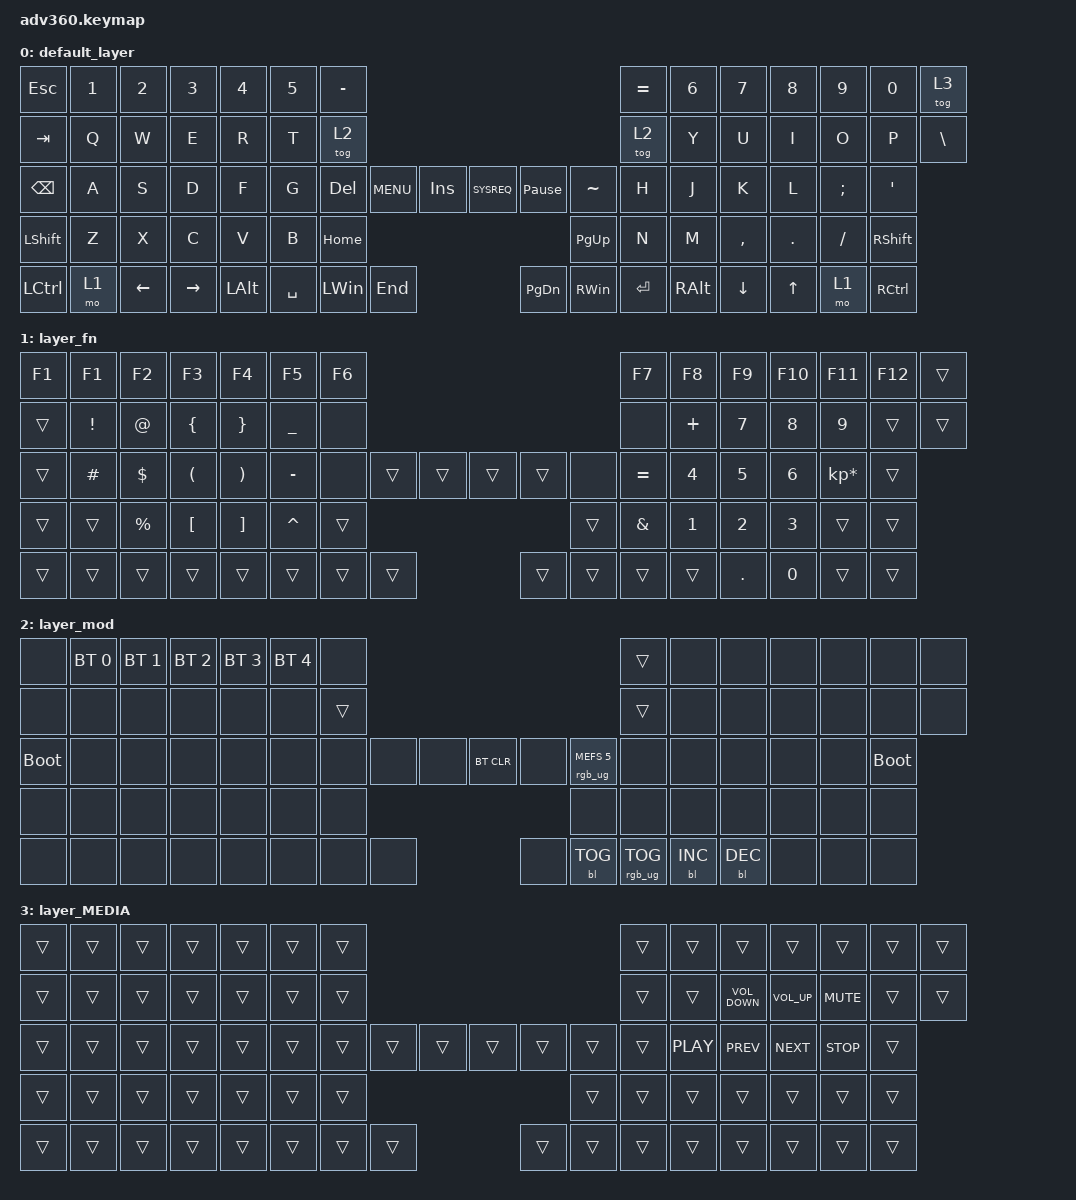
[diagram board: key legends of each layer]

/*
 * Copyright (c) 2020 The ZMK Contributors
 *
 * SPDX-License-Identifier: MIT
 */


/* THIS FILE WAS GENERATED!
 *
 * This file was generated automatically. You may or may not want to
 * edit it directly.
 */

#include <behaviors.dtsi>
#include <dt-bindings/zmk/keys.h>
#include <dt-bindings/zmk/bt.h>
#include <dt-bindings/zmk/rgb.h>
#include <dt-bindings/zmk/backlight.h>

/ {
  behaviors {
    #include "macros.dtsi"
    #include "version.dtsi"

    hm: homerow_mods {
        compatible = "zmk,behavior-hold-tap";
        label = "HOMEROW_MODS";
        #binding-cells = <2>;
        tapping-term-ms = <200>;
        quick_tap_ms = <175>;
        flavor = "tap-preferred";
        bindings = <&kp>, <&kp>;
    };
  };

    keymap {
        compatible = "zmk,keymap";


        default_layer {
            bindings = <
    &kp ESCAPE  &kp N1    &kp N2     &kp N3        &kp N4  &kp N5            &kp MINUS                                                                         &kp EQUAL  &kp N6    &kp N7     &kp N8   &kp N9    &kp N0     &tog 3
       &kp TAB   &kp Q     &kp W      &kp E         &kp R   &kp T               &tog 2                                                                            &tog 2   &kp Y     &kp U      &kp I    &kp O     &kp P   &kp BSLH
 &kp BACKSPACE   &kp A     &kp S      &kp D         &kp F   &kp G              &kp DEL    &kp C_MENU  &kp INSERT                  &kp SYSREQ  &kp PAUSE_BREAK  &kp TILDE   &kp H     &kp J      &kp K    &kp L  &kp SEMI    &kp SQT
     &kp LSHFT   &kp Z     &kp X      &kp C         &kp V   &kp B                                       &kp HOME                   &kp PG_UP                               &kp N     &kp M  &kp COMMA  &kp DOT  &kp FSLH  &kp RSHFT
     &kp LCTRL   &mo 1  &kp LEFT  &kp RIGHT  &kp LEFT_ALT                    &kp SPACE  &kp LEFT_WIN     &kp END                   &kp PG_DN    &kp RIGHT_WIN  &kp ENTER          &kp RALT   &kp DOWN   &kp UP     &mo 1  &kp RCTRL
            >;
        };

        layer_fn {
            bindings = <
 &kp F1           &kp F1       &kp F2                &kp F3                 &kp F4          &kp F5            &kp F6                                                  &kp F7         &kp F8        &kp F9       &kp F10       &kp F11          &kp F12  &trans
 &trans  &kp EXCLAMATION       &kp AT        &kp LEFT_BRACE        &kp RIGHT_BRACE  &kp UNDERSCORE             &none                                                   &none       &kp PLUS  &kp NUMBER_7  &kp NUMBER_8  &kp NUMBER_9           &trans  &trans
 &trans         &kp HASH   &kp DOLLAR  &kp LEFT_PARENTHESIS  &kp RIGHT_PARENTHESIS       &kp MINUS             &none  &trans  &trans                  &trans  &trans   &none      &kp EQUAL  &kp NUMBER_4  &kp NUMBER_5  &kp NUMBER_6  &kp KP_MULTIPLY  &trans
 &trans           &trans  &kp PERCENT      &kp LEFT_BRACKET      &kp RIGHT_BRACKET       &kp CARET                            &trans                  &trans                  &kp AMPERSAND  &kp NUMBER_1  &kp NUMBER_2  &kp NUMBER_3           &trans  &trans
 &trans           &trans       &trans                &trans                 &trans                            &trans  &trans  &trans                  &trans  &trans  &trans                       &trans       &kp DOT  &kp NUMBER_0           &trans  &trans
            >;
        };

        layer_mod {
            bindings = <
       &none  &bt BT_SEL 0  &bt BT_SEL 1  &bt BT_SEL 2  &bt BT_SEL 3  &bt BT_SEL 4             &none                                                                          &trans   &none       &none       &none   &none   &none        &none
       &none         &none         &none         &none         &none         &none            &trans                                                                          &trans   &none       &none       &none   &none   &none        &none
 &bootloader         &none         &none         &none         &none         &none             &none   &none   &none                  &bt BT_CLR       &none  &rgb_ug RGB_MEFS_CMD 5   &none       &none       &none   &none   &none  &bootloader
       &none         &none         &none         &none         &none         &none                             &none                       &none                                       &none       &none       &none   &none   &none        &none
       &none         &none         &none         &none         &none                           &none   &none   &none                       &none  &bl BL_TOG         &rgb_ug RGB_TOG          &bl BL_INC  &bl BL_DEC   &none   &none        &none
            >;
        };

        layer_MEDIA {
            bindings = <
 &trans  &trans  &trans  &trans  &trans  &trans            &trans                                                  &trans  &trans             &trans           &trans      &trans      &trans  &trans
 &trans  &trans  &trans  &trans  &trans  &trans            &trans                                                  &trans  &trans  &kp C_VOLUME_DOWN  &kp C_VOLUME_UP  &kp C_MUTE      &trans  &trans
 &trans  &trans  &trans  &trans  &trans  &trans            &trans  &trans  &trans                  &trans  &trans  &trans  &trans         &kp C_PLAY       &kp C_PREV  &kp C_NEXT  &kp C_STOP  &trans
 &trans  &trans  &trans  &trans  &trans  &trans                            &trans                  &trans                  &trans             &trans           &trans      &trans      &trans  &trans
 &trans  &trans  &trans  &trans  &trans                    &trans  &trans  &trans                  &trans  &trans  &trans                     &trans           &trans      &trans      &trans  &trans
            >;
        };

    };
};
